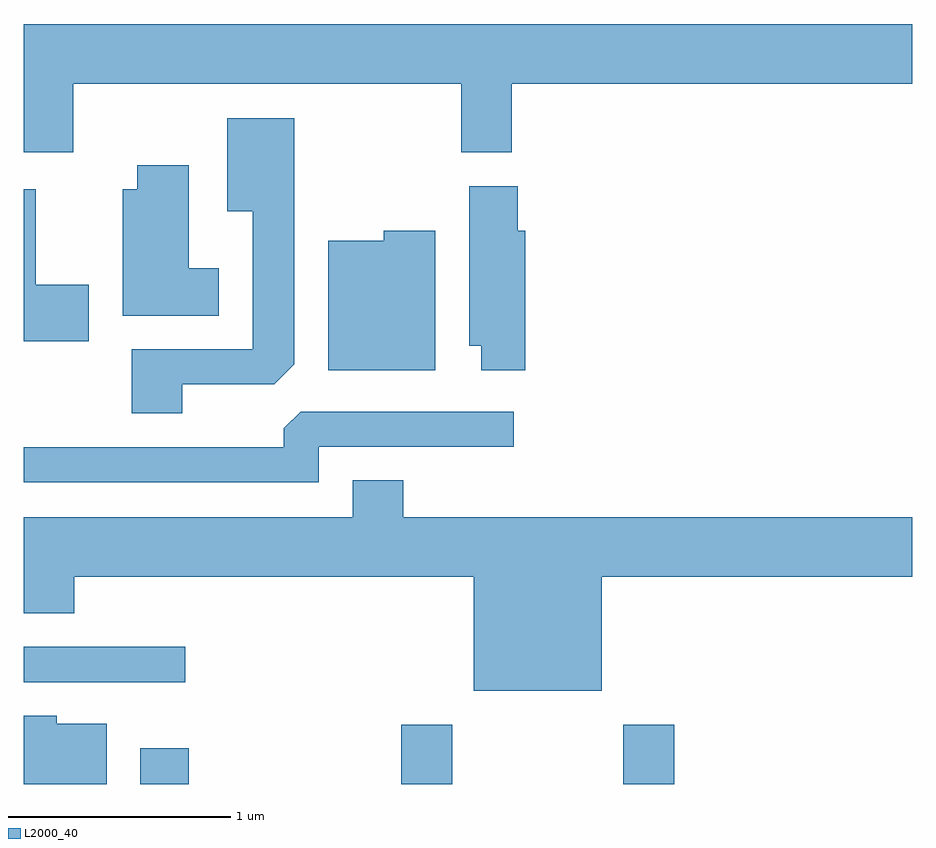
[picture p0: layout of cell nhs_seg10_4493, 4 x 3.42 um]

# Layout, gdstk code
import gdstk
lib = gdstk.Library(unit=1e-6, precision=1e-09)
def R(c, l, rs):  # rectangles x0, y0, x1, y1
    for r in rs: c.add(gdstk.rectangle(r[:2], r[2:], *l))
def P(c, l, *ps):  # polygons
    for p in ps: c.add(gdstk.Polygon(p, *l))
L2000_40 = (2000, 40)

nhs_seg10_4493 = lib.new_cell('nhs_seg10_4493')
R(nhs_seg10_4493, L2000_40, [(318.136,2128.522,318.354,2128.684), (319.311,2128.522,319.539,2128.789), (320.311,2128.522,320.539,2128.789), (317.611,2128.981,318.338,2129.139)])
P(nhs_seg10_4493, L2000_40, [(317.834,2131.676),(319.581,2131.676),(319.581,2131.366),(319.809,2131.366),(319.809,2131.676),(321.611,2131.676),(321.611,2131.944),(317.611,2131.944),(317.611,2131.366),(317.834,2131.366)],
  [(318.324,2130.321),(318.739,2130.321),(318.829,2130.412),(318.829,2131.519),(318.526,2131.519),(318.526,2131.101),(318.641,2131.101),(318.641,2130.479),(318.096,2130.479),(318.096,2130.191),(318.324,2130.191)],
  [(318.489,2130.844),(318.354,2130.844),(318.354,2131.309),(318.121,2131.309),(318.121,2131.199),(318.056,2131.199),(318.056,2130.631),(318.489,2130.631)],
  [(319.869,2131.014),(319.834,2131.014),(319.834,2131.214),(319.616,2131.214),(319.616,2130.496),(319.671,2130.496),(319.671,2130.386),(319.869,2130.386)],
  [(317.904,2130.769),(317.664,2130.769),(317.664,2131.199),(317.611,2131.199),(317.611,2130.516),(317.904,2130.516)],
  [(319.464,2131.014),(319.231,2131.014),(319.231,2130.969),(318.981,2130.969),(318.981,2130.386),(319.464,2130.386)],
  [(318.939,2130.041),(319.818,2130.041),(319.818,2130.199),(318.857,2130.199),(318.781,2130.124),(318.781,2130.039),(317.611,2130.039),(317.611,2129.881),(318.939,2129.881)],
  [(320.214,2129.456),(321.611,2129.456),(321.611,2129.724),(319.319,2129.724),(319.319,2129.889),(319.091,2129.889),(319.091,2129.724),(317.611,2129.724),(317.611,2129.291),(317.839,2129.291),(317.839,2129.456),(319.636,2129.456),(319.636,2128.941),(320.214,2128.941)],
  [(317.984,2128.794),(317.759,2128.794),(317.759,2128.829),(317.611,2128.829),(317.611,2128.522),(317.984,2128.522)])

lib.write_gds('nhs_seg10_4493.gds')
